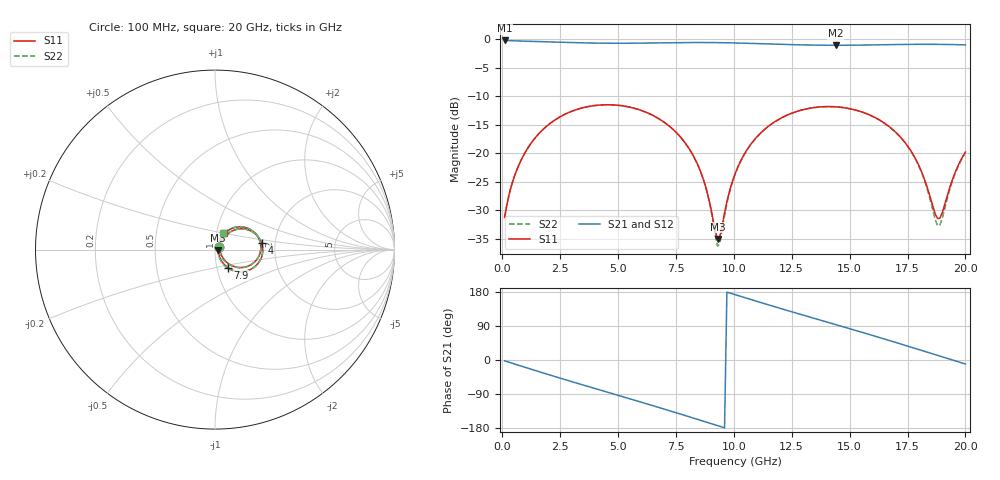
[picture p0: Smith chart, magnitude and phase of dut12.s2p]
! Touchstone file exported from HFSS 2026.1.0
!  File:  C:/ffzhzh/LocalFiles/Ansys_Project_Files/temp_test_TSV_RDL_12_1782979688_15332.aedt
!  Generated:  04:21:32 PM Jul  2, 2026
!  Design:  TSV_RDL
!  Project:  temp_test_TSV_RDL_12_1782979688_15332
! Variables:
!  h_bsmrdl = 3.13um
!  h_ox = 20um
!  h_rdl = 5um
!  h_sub = 87.23um
!  h_tmrdl = 4.39um
!  h_tsv = 87.23um
!  h_via = 3um
!  l_bsmrdl = 672.72um
!  l_sub = 6220.9um
!  l_tmrdl = 916.41um
!  m_sub = 200um
!  pitch = 34.6um
!  r_tsv = 10.79um
!  s_tmrdl = 10um
!  w_bsmrdl = 22.62um
!  w_sub = 500um
!  w_tmrdl = 23.08um
!  x_tsv_center1 = 927.95um
!  x_tsv_center2 = 1623.29um
!  x_tsv_center3 = 2562.78um
!  x_tsv_center4 = 3258.12um
!  x_tsv_center5 = 4197.61um
!  x_tsv_center6 = 4892.95um
# GHz S MA R 50.000000
! Terminal data exported
! Port[1] = TM_RDL1_1_T1
! Port[2] = TM_RDL5_1_T1
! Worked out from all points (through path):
!   200 points, 100 MHz to 20 GHz, reference 50 ohm
!   highest |S21| = -0.21 dB at 100 MHz (marker M1); lowest = -1.1 dB at 14.4 GHz (marker M2)
!   group delay of S21, straight-line fit = 51.2 ps
!   lowest |S11| = -35.1 dB at 9.3 GHz (marker M3), VSWR 1.04, Z = 51.8 - j0.163 ohm
!   |S11| at or under -10 dB: start of sweep to end of sweep
!   |S22| runs from -36.3 to -11.5 dB; largest |S21 - S12| = 1.6e-14
!   S11 on the Smith chart (normalised r, x): 100 MHz: 1.05, +0.02; 4 GHz: 1.69, +0.14; 7.9 GHz: 1.13, -0.23; 20 GHz: 1.08, +0.20
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0.1  0.02728 25.4  0.9757 -2.1  0.9757 -2.1  0.02729 25.4
! Gamma 0 0 0 0
! Port Impedance 50 0 50 0
0.5  0.06062 50.2  0.9685 -10.0  0.9685 -10.0  0.06062 50.2
1.2  0.1188 50.3  0.9597 -23.5  0.9597 -23.5  0.1188 50.3
2.2  0.1912 37.4  0.9458 -42.3  0.9458 -42.3  0.1912 37.3
3.5  0.251 16.5  0.9294 -66.2  0.9294 -66.2  0.2511 16.4
4  0.262 8.3  0.9253 -75.2  0.9253 -75.2  0.2621 8.1
5.4  0.256 -15.0  0.9226 -100.3  0.9226 -100.3  0.2561 -15.4
6.8  0.1984 -38.2  0.9296 -125.9  0.9296 -125.9  0.1985 -38.7
7.9  0.1228 -54.7  0.9353 -146.5  0.9353 -146.5  0.1228 -55.8
8.7  0.05758 -59.8  0.9361 -161.8  0.9361 -161.8  0.05719 -62.2
9.3  0.01764 -5.1  0.9339 -173.2  0.9339 -173.2  0.01526 -7.4
9.4  0.01879 20.9  0.9333 -175.1  0.9333 -175.1  0.0164 22.9
9.8  0.04532 59.7  0.9302 177.3  0.9302 177.3  0.04414 62.5
10.1  0.06967 62.5  0.9273 171.6  0.9273 171.6  0.0688 64.3
11.4  0.1664 47.9  0.9105 147.3  0.9105 147.3  0.1659 48.6
13.4  0.2503 16.1  0.8883 111.2  0.8883 111.2  0.2499 16.3
14.4  0.2552 0.1  0.8852 93.4  0.8852 93.4  0.255 0.1
15.6  0.2274 -19.0  0.8891 71.9  0.8891 71.9  0.2272 -19.3
16.7  0.1715 -35.7  0.8965 51.8  0.8965 51.8  0.1712 -36.3
17.9  0.08496 -47.7  0.9024 29.3  0.9024 29.3  0.08413 -49.6
18.8  0.02663 0.7  0.9017 12.2  0.9017 12.2  0.02311 -0.6
20  0.1022 61.5  0.8928 -10.6  0.8928 -10.6  0.1011 63.8
